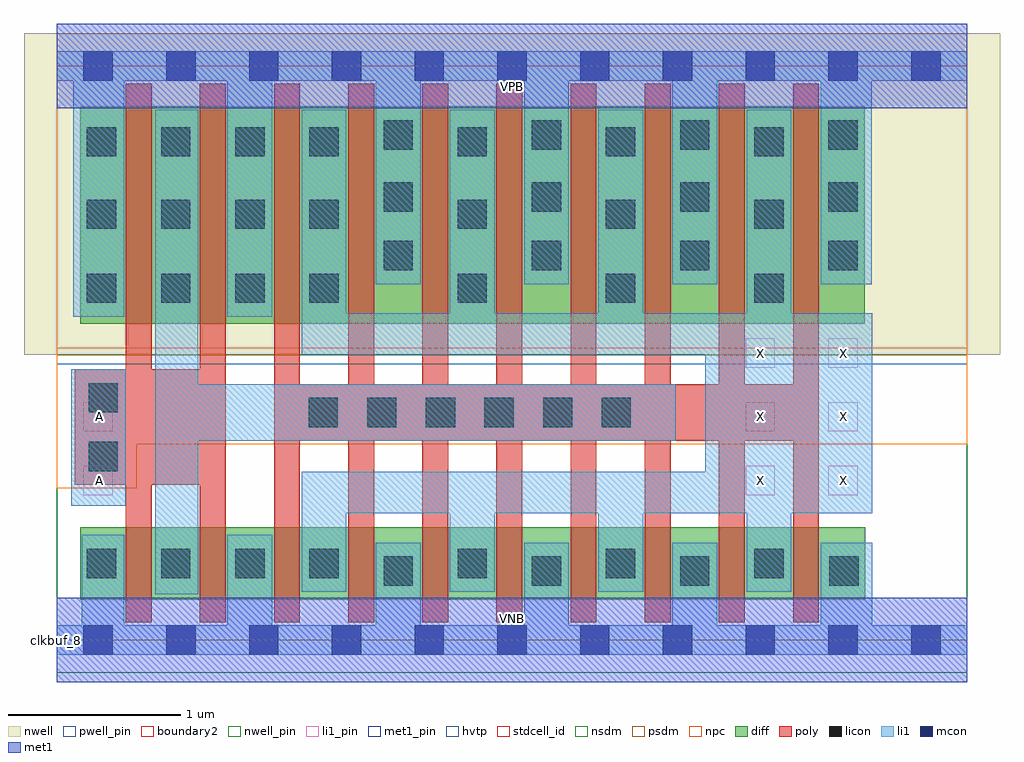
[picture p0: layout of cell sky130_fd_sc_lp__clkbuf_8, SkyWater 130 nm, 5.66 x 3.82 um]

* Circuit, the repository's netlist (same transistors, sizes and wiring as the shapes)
* Copyright 2020 The SkyWater PDK Authors
*
* Licensed under the Apache License, Version 2.0 (the "License");
* you may not use this file except in compliance with the License.
* You may obtain a copy of the License at
*
*     https://www.apache.org/licenses/LICENSE-2.0
*
* Unless required by applicable law or agreed to in writing, software
* distributed under the License is distributed on an "AS IS" BASIS,
* WITHOUT WARRANTIES OR CONDITIONS OF ANY KIND, either express or implied.
* See the License for the specific language governing permissions and
* limitations under the License.
*
* SPDX-License-Identifier: Apache-2.0

.SUBCKT sky130_fd_sc_lp__clkbuf_8 A VGND VNB VPB VPWR X
*.PININFO A:I VGND:I VNB:I VPB:I VPWR:I X:O
MMIN0 Ab A VGND VNB sky130_fd_pr__nfet_01v8 m=2 w=0.42U l=0.15U mult=1 sa=0.265
+ sb=0.265 sd=0.28 area=0.063 perim=1.14
MMIN1 X Ab VGND VNB sky130_fd_pr__nfet_01v8 m=8 w=0.42U l=0.15U mult=1 sa=0.265
+ sb=0.265 sd=0.28 area=0.063 perim=1.14
MMIP0 Ab A VPWR VPB sky130_fd_pr__pfet_01v8_hvt m=2 w=1.26U l=0.15U mult=1 sa=0.265
+ sb=0.265 sd=0.28 area=0.063 perim=1.14
MMIP1 X Ab VPWR VPB sky130_fd_pr__pfet_01v8_hvt m=8 w=1.26U l=0.15U mult=1 sa=0.265
+ sb=0.265 sd=0.28 area=0.063 perim=1.14
.ENDS sky130_fd_sc_lp__clkbuf_8

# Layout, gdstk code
import gdstk
lib = gdstk.Library(unit=1e-6, precision=1e-09)
def R(c, l, rs):  # rectangles x0, y0, x1, y1
    for r in rs: c.add(gdstk.rectangle(r[:2], r[2:], *l))
def A(c, l, x, y, w, h, nx, ny, dx, dy):  # array of equal rectangles
    R(c, l, [(x+i*dx, y+j*dy, x+i*dx+w, y+j*dy+h) for i in range(nx) for j in range(ny)])
def P(c, l, *ps):  # polygons
    for p in ps: c.add(gdstk.Polygon(p, *l))
nwell_pin = (64, 16)
nwell = (64, 20)
diff = (65, 20)
poly = (66, 20)
licon = (66, 44)
li1_pin = (67, 16)
li1 = (67, 20)
mcon = (67, 44)
met1_pin = (68, 16)
met1 = (68, 20)
hvtp = (78, 44)
stdcell_id = (81, 4)
nsdm = (93, 44)
psdm = (94, 20)
npc = (95, 20)
pwell_pin = (122, 16)
boundary2 = (236, 0)

sky130_fd_sc_lp__clkbuf_ = lib.new_cell('sky130_fd_sc_lp__clkbuf_8')
R(sky130_fd_sc_lp__clkbuf_, nwell_pin, [(0,3.085,5.28,3.33)])
R(sky130_fd_sc_lp__clkbuf_, nwell, [(-0.19,1.655,5.47,3.52)])
R(sky130_fd_sc_lp__clkbuf_, diff, [(0.135,0.235,4.69,0.655), (0.135,1.835,4.685,3.095)])
P(sky130_fd_sc_lp__clkbuf_, poly, [(4.42,3.225),(4.27,3.225),(4.27,1.485),(3.99,1.485),(3.99,3.225),(3.84,3.225),(3.84,1.485),(3.56,1.485),(3.56,3.225),(3.41,3.225),(3.41,1.485),(3.13,1.485),(3.13,3.225),(2.98,3.225),(2.98,1.485),(2.7,1.485),(2.7,3.225),(2.55,3.225),(2.55,1.485),(2.27,1.485),(2.27,3.225),(2.12,3.225),(2.12,1.485),(1.84,1.485),(1.84,3.225),(1.69,3.225),(1.69,1.485),(1.41,1.485),(1.41,3.225),(1.26,3.225),(1.26,0.105),(1.41,0.105),(1.41,1.155),(1.69,1.155),(1.69,0.105),(1.84,0.105),(1.84,1.155),(2.12,1.155),(2.12,0.105),(2.27,0.105),(2.27,1.155),(2.55,1.155),(2.55,0.105),(2.7,0.105),(2.7,1.155),(2.98,1.155),(2.98,0.105),(3.13,0.105),(3.13,1.155),(3.41,1.155),(3.41,0.105),(3.56,0.105),(3.56,1.155),(3.84,1.155),(3.84,0.105),(3.99,0.105),(3.99,1.155),(4.27,1.155),(4.27,0.105),(4.42,0.105)],
  [(0.98,3.225),(0.83,3.225),(0.83,1.57),(0.55,1.57),(0.55,3.225),(0.4,3.225),(0.4,1.57),(0.105,1.57),(0.105,0.9),(0.4,0.9),(0.4,0.105),(0.55,0.105),(0.55,0.9),(0.83,0.9),(0.83,0.105),(0.98,0.105)])
A(sky130_fd_sc_lp__clkbuf_, licon, 1.895, 0.315, 0.17, 0.17, 3, 1, 0.86, 0)
A(sky130_fd_sc_lp__clkbuf_, licon, 0.175, 0.36, 0.17, 0.17, 4, 2, 0.43, 1.595)
A(sky130_fd_sc_lp__clkbuf_, licon, 2.325, 0.36, 0.17, 0.17, 3, 2, 0.86, 1.595)
A(sky130_fd_sc_lp__clkbuf_, licon, 1.46, 1.235, 0.17, 0.17, 6, 1, 0.34, 0)
A(sky130_fd_sc_lp__clkbuf_, licon, 1.895, 2.145, 0.17, 0.17, 4, 2, 0.86, 0.34)
A(sky130_fd_sc_lp__clkbuf_, licon, 0.175, 2.385, 0.17, 0.17, 4, 2, 0.43, 0.42)
A(sky130_fd_sc_lp__clkbuf_, licon, 2.325, 2.385, 0.17, 0.17, 3, 2, 0.86, 0.42)
A(sky130_fd_sc_lp__clkbuf_, licon, 1.895, 2.845, 0.17, 0.17, 4, 1, 0.86, 0)
R(sky130_fd_sc_lp__clkbuf_, licon, [(4.48,0.315,4.65,0.485), (0.185,0.98,0.355,1.15), (0.185,1.32,0.355,1.49)])
A(sky130_fd_sc_lp__clkbuf_, li1_pin, 3.995, 0.84, 0.17, 0.17, 1, 3, 0, 0.37)
A(sky130_fd_sc_lp__clkbuf_, li1_pin, 4.475, 0.84, 0.17, 0.17, 1, 3, 0, 0.37)
R(sky130_fd_sc_lp__clkbuf_, li1_pin, [(0.155,0.84,0.325,1.01), (0.155,1.21,0.325,1.38)])
R(sky130_fd_sc_lp__clkbuf_, li1, [(0.085,0.78,0.4,1.57)])
P(sky130_fd_sc_lp__clkbuf_, li1, [(4.73,1.895),(4.26,1.895),(4.26,3.075),(4,3.075),(4,1.895),(3.4,1.895),(3.4,3.075),(3.14,3.075),(3.14,1.895),(2.54,1.895),(2.54,3.075),(2.28,3.075),(2.28,1.895),(1.68,1.895),(1.68,3.075),(1.42,3.075),(1.42,1.655),(3.76,1.655),(3.76,0.975),(1.42,0.975),(1.42,0.28),(1.68,0.28),(1.68,0.735),(2.28,0.735),(2.28,0.28),(2.54,0.28),(2.54,0.735),(3.14,0.735),(3.14,0.28),(3.4,0.28),(3.4,0.735),(4,0.735),(4,0.28),(4.26,0.28),(4.26,0.735),(4.73,0.735)],
  [(3.59,1.485),(0.82,1.485),(0.82,3.075),(0.57,3.075),(0.57,0.265),(0.82,0.265),(0.82,1.155),(3.59,1.155)],
  [(5.28,0.085),(4.73,0.085),(4.73,0.565),(4.43,0.565),(4.43,0.085),(3.83,0.085),(3.83,0.565),(3.57,0.565),(3.57,0.085),(2.97,0.085),(2.97,0.565),(2.71,0.565),(2.71,0.085),(2.11,0.085),(2.11,0.565),(1.85,0.565),(1.85,0.085),(1.25,0.085),(1.25,0.61),(0.99,0.61),(0.99,0.085),(0.39,0.085),(0.39,0.61),(0.145,0.61),(0.145,0.085),(0,0.085),(0,-0.085),(5.28,-0.085)],
  [(5.28,3.415),(0,3.415),(0,3.245),(0.095,3.245),(0.095,1.875),(0.39,1.875),(0.39,3.245),(0.99,3.245),(0.99,1.875),(1.25,1.875),(1.25,3.245),(1.85,3.245),(1.85,2.065),(2.11,2.065),(2.11,3.245),(2.71,3.245),(2.71,2.065),(2.97,2.065),(2.97,3.245),(3.57,3.245),(3.57,2.065),(3.83,2.065),(3.83,3.245),(4.43,3.245),(4.43,2.065),(4.725,2.065),(4.725,3.245),(5.28,3.245)])
A(sky130_fd_sc_lp__clkbuf_, mcon, 0.155, -0.085, 0.17, 0.17, 11, 2, 0.48, 3.33)
R(sky130_fd_sc_lp__clkbuf_, met1_pin, [(0,0,5.28,0.245), (0,3.085,5.28,3.33)])
R(sky130_fd_sc_lp__clkbuf_, met1, [(0,-0.245,5.28,0.245), (0,3.085,5.28,3.575)])
R(sky130_fd_sc_lp__clkbuf_, hvtp, [(0,1.6,5.28,3.33)])
R(sky130_fd_sc_lp__clkbuf_, stdcell_id, [(0,0,5.28,3.33)])
R(sky130_fd_sc_lp__clkbuf_, nsdm, [(0,-0.19,5.28,1.655)])
R(sky130_fd_sc_lp__clkbuf_, psdm, [(0,1.655,5.28,3.52)])
P(sky130_fd_sc_lp__clkbuf_, npc, [(5.28,1.695),(0,1.695),(0,0.88),(0.465,0.88),(0.465,1.135),(5.28,1.135)])
R(sky130_fd_sc_lp__clkbuf_, pwell_pin, [(0,0,5.28,0.245)])
R(sky130_fd_sc_lp__clkbuf_, boundary2, [(0,0,5.28,3.33)])
sky130_fd_sc_lp__clkbuf_.add(gdstk.Label('VNB', (2.64,0.123), layer=64, texttype=59))
sky130_fd_sc_lp__clkbuf_.add(gdstk.Label('VPB', (2.64,3.208), layer=64, texttype=5))
sky130_fd_sc_lp__clkbuf_.add(gdstk.Label('clkbuf_8', (0,0), layer=83, texttype=44))
sky130_fd_sc_lp__clkbuf_.add(gdstk.Label('VPWR', (2.64,3.208), layer=68, texttype=5))
sky130_fd_sc_lp__clkbuf_.add(gdstk.Label('VGND', (2.64,0.123), layer=68, texttype=5))
sky130_fd_sc_lp__clkbuf_.add(gdstk.Label('A', (0.245,0.925), layer=67, texttype=5))
sky130_fd_sc_lp__clkbuf_.add(gdstk.Label('X', (4.08,1.665), layer=67, texttype=5))
sky130_fd_sc_lp__clkbuf_.add(gdstk.Label('X', (4.08,0.925), layer=67, texttype=5))
sky130_fd_sc_lp__clkbuf_.add(gdstk.Label('X', (4.08,1.295), layer=67, texttype=5))
sky130_fd_sc_lp__clkbuf_.add(gdstk.Label('A', (0.245,1.295), layer=67, texttype=5))
sky130_fd_sc_lp__clkbuf_.add(gdstk.Label('X', (4.56,1.665), layer=67, texttype=5))
sky130_fd_sc_lp__clkbuf_.add(gdstk.Label('X', (4.56,1.295), layer=67, texttype=5))
sky130_fd_sc_lp__clkbuf_.add(gdstk.Label('X', (4.56,0.925), layer=67, texttype=5))

lib.write_gds('sky130_fd_sc_lp__clkbuf_8.gds')
